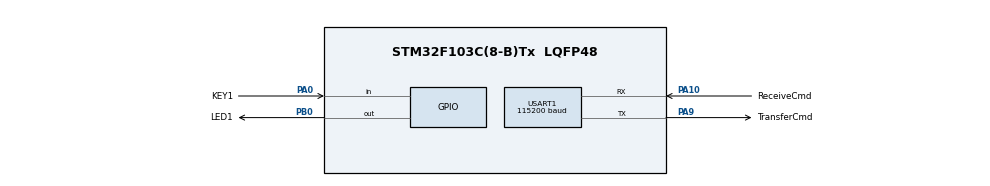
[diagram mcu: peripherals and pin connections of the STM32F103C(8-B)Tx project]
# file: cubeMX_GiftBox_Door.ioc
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Mcu.Family=STM32F1
Mcu.Name=STM32F103C(8-B)Tx
Mcu.Package=LQFP48
NVIC.PriorityGroup=NVIC_PRIORITYGROUP_4
NVIC.USART1_IRQn=true\:0\:0\:false\:false\:true\:true\:true
PA0-WKUP.GPIO_Label=KEY1
PA0-WKUP.GPIO_PuPd=GPIO_PULLDOWN
PA0-WKUP.Signal=GPIO_Input
PA10.GPIO_Label=ReceiveCmd
PA10.Mode=Asynchronous
PA10.Signal=USART1_RX
PA9.GPIO_Label=TransferCmd
PA9.Mode=Asynchronous
PA9.Signal=USART1_TX
PB0.GPIO_Label=LED1
PB0.GPIO_PuPd=GPIO_PULLDOWN
PB0.GPIO_Speed=GPIO_SPEED_FREQ_HIGH
PB0.PinState=GPIO_PIN_SET
PB0.Signal=GPIO_Output
PD0-OSC_IN.Mode=HSE-External-Oscillator
PD0-OSC_IN.Signal=RCC_OSC_IN
PD1-OSC_OUT.Mode=HSE-External-Oscillator
PD1-OSC_OUT.Signal=RCC_OSC_OUT
ProjectManager.HeapSize=0x200
ProjectManager.StackSize=0x400
ProjectManager.TargetToolchain=Makefile
RCC.APB1Freq_Value=8000000
RCC.APB2Freq_Value=8000000
USART1.BaudRate=115200
USART1.VirtualMode=VM_ASYNC
VP_SYS_VS_ND.Mode=No_Debug
board=custom

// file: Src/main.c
/* USER CODE BEGIN Header */
/**
  ******************************************************************************
  * @file           : main.c
  * @brief          : Main program body
  ******************************************************************************
  * @attention
  *
  * <h2><center>&copy; Copyright (c) 2019 STMicroelectronics.
  * All rights reserved.</center></h2>
  *
  * This software component is licensed by ST under BSD 3-Clause license,
  * the "License"; You may not use this file except in compliance with the
  * License. You may obtain a copy of the License at:
  *                        opensource.org/licenses/BSD-3-Clause
  *
  ******************************************************************************
  */
/* USER CODE END Header */

#include "main.h"
#include "usart.h"
#include "gpio.h"

/* USER CODE BEGIN PD */
uint8_t rData[6];
uint8_t tData[] = "#0001:0003#\n\r";
uint8_t cmdOn[] = "OOOOOO\n\r";
uint8_t cmdOff[] = "XXXXXX\n\r";
uint8_t endline[] = "\n\r";
uint8_t a = 0;
uint8_t a_str[10];
int loaded = 0;

/* USER CODE END PD */

void SystemClock_Config(void);

/* USER CODE BEGIN 0 */

void SwitchOn(GPIO_TypeDef* LedPort, uint16_t LedPin)
{
  HAL_GPIO_WritePin(LedPort,LedPin,0);
}

void SwitchOff(GPIO_TypeDef* LedPort, uint16_t LedPin)
{
  HAL_GPIO_WritePin(LedPort,LedPin,1);
}

void PowerOn()
{
  SwitchOn(LED1_GPIO_Port, LED1_Pin);
}

void PowerOff()
{
  SwitchOff(LED1_GPIO_Port, LED1_Pin);
}

void sendData(uint8_t* message)
{
  HAL_UART_Transmit(&huart1, message, sizeof(message), 1000);
  while(HAL_UART_GetState(&huart1) == HAL_UART_STATE_BUSY_TX);
}

int DetectorCMD(GPIO_TypeDef* KeyPort, uint16_t KeyPin)
{
  if(HAL_GPIO_ReadPin(KeyPort,KeyPin)){
    return 1;
  }
  else return 0;
}

/* USER CODE END 0 */

int main(void)
{

  /* MCU Configuration--------------------------------------------------------*/

  /* Reset of all peripherals, Initializes the Flash interface and the Systick. */
  HAL_Init();

  /* Configure the system clock */
  SystemClock_Config();

  /* Initialize all configured peripherals */
  MX_GPIO_Init();
  MX_USART1_UART_Init();

  /* Infinite loop */
  while (1)
  {

    /* USER CODE BEGIN 3 */
    while(!loaded){
      //发送地址
      HAL_UART_Transmit(&huart1, tData, sizeof(tData), 1000);
      while(HAL_UART_GetState(&huart1) == HAL_UART_STATE_BUSY_TX);

      //检测总控是否识别
      HAL_UART_Receive(&huart1, rData, sizeof(rData), 1000);
      while(HAL_UART_GetState(&huart1) == HAL_UART_STATE_BUSY_RX);
      if(rData[1] == 'R'){
        loaded = 1;
        PowerOff();
        break;
      }
    }

    //接收指令
    HAL_UART_Receive(&huart1, rData, sizeof(rData), 1000);
    while(HAL_UART_GetState(&huart1) == HAL_UART_STATE_BUSY_RX);

    if(rData[1] == 'O'){
      PowerOn();
      HAL_Delay(8000);
      while(1)PowerOff();
      return 0;
    }
  }
  /* USER CODE END 3 */
}

void SystemClock_Config(void)
{
  RCC_OscInitTypeDef RCC_OscInitStruct = {0};
  RCC_ClkInitTypeDef RCC_ClkInitStruct = {0};

  /** Initializes the CPU, AHB and APB busses clocks
  */
  RCC_OscInitStruct.OscillatorType = RCC_OSCILLATORTYPE_HSI;
  RCC_OscInitStruct.HSIState = RCC_HSI_ON;
  RCC_OscInitStruct.HSICalibrationValue = RCC_HSICALIBRATION_DEFAULT;
  RCC_OscInitStruct.PLL.PLLState = RCC_PLL_NONE;
  if (HAL_RCC_OscConfig(&RCC_OscInitStruct) != HAL_OK)
  {
    Error_Handler();
  }
  /** Initializes the CPU, AHB and APB busses clocks
  */
  RCC_ClkInitStruct.ClockType = RCC_CLOCKTYPE_HCLK|RCC_CLOCKTYPE_SYSCLK
                              |RCC_CLOCKTYPE_PCLK1|RCC_CLOCKTYPE_PCLK2;
  RCC_ClkInitStruct.SYSCLKSource = RCC_SYSCLKSOURCE_HSI;
  RCC_ClkInitStruct.AHBCLKDivider = RCC_SYSCLK_DIV1;
  RCC_ClkInitStruct.APB1CLKDivider = RCC_HCLK_DIV1;
  RCC_ClkInitStruct.APB2CLKDivider = RCC_HCLK_DIV1;

  if (HAL_RCC_ClockConfig(&RCC_ClkInitStruct, FLASH_LATENCY_0) != HAL_OK)
  {
    Error_Handler();
  }
}

void Error_Handler(void)
{
}

/************************ (C) COPYRIGHT STMicroelectronics *****END OF FILE****/
